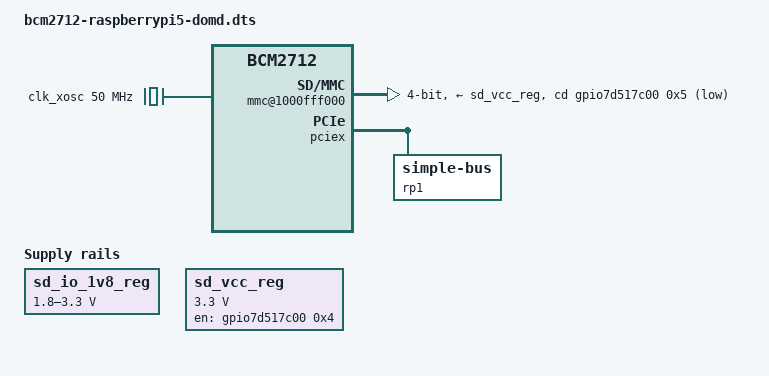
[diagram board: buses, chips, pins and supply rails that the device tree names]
/dts-v1/;

/ {
	#address-cells = <0x2>;
	#size-cells = <0x2>;

	gic: gic {
		#interrupt-cells = <0x3>;
		interrupt-controller;
	};

	passthrough {
		compatible = "raspberrypi,5-model-b", "brcm,bcm2712", "simple-bus";
		ranges;
		#address-cells = <0x2>;
		#size-cells = <0x2>;

		mmc@1000fff000 {
			compatible = "brcm,bcm2712-sdhci";
			interrupt-parent = <&gic>;
			interrupts = <0x0 0x111 0x4>;
			reg-names = "host", "cfg", "busisol", "lcpll";
			reg = <0x10 0xfff000 0x0 0x260 0x10 0xfff400 0x0 0x200
			       0x10 0x15040b0 0x0 0x4 0x10 0x15200f0 0x0 0x24>;
			clocks = <&clk_emmc2>;
			cd-gpios = <&gpio7d517c00 0x5 0x1>;
			sd-uhs-sdr104;
			sd-uhs-ddr50;
			sd-uhs-sdr50;
			bus-width = <0x4>;
			vmmc-supply = <&sd_vcc_reg>;
			vqmmc-supply = <&sd_io_1v8_reg>;
			mmc-ddr-3_3v;
			sdhci-caps = <0x0 0x0>;
			sdhci-caps-mask = <0xc000 0x0>;
			xen,path = "/axi/mmc@fff000";
			xen,force-assign-without-iommu = <0x1>;
			xen,reg = <0x10 0xfff000 0x0 0x1000 0x10 0xfff000 0x10 0x1504000 0x0
				   0x1000 0x10 0x1504000 0x10 0x1520000 0x0 0x1000 0x10 0x1520000>;
			status = "okay";
		};

		clk_emmc2: clk_emmc2 {
			compatible = "fixed-clock";
			#clock-cells = <0x0>;
			clock-output-names = "emmc2-clock";
			clock-frequency = <0xbebc200>;
			extracted,path = "/clocks/clk_emmc2";
		};

		clk_xosc: clk_xosc {
			compatible = "fixed-clock";
			#clock-cells = <0>;
			clock-output-names = "xosc";
			clock-frequency = <50000000>;
		};

		macb_pclk: macb_pclk {
			compatible = "fixed-clock";
			#clock-cells = <0>;
			clock-output-names = "pclk";
			clock-frequency = <200000000>;
		};

		macb_hclk: macb_hclk {
			compatible = "fixed-clock";
			#clock-cells = <0>;
			clock-output-names = "hclk";
			clock-frequency = <200000000>;
		};

		 sd_io_1v8_reg: sd_io_1v8_reg {
			compatible = "regulator-gpio";
			states = <0x1b7740 0x1 0x325aa0 0x0>;
			gpios = <&gpio7d517c00 0x3 0x0>;
			regulator-settling-time-us = <0x1388>;
			regulator-always-on;
			regulator-boot-on;
			regulator-max-microvolt = <0x325aa0>;
			regulator-min-microvolt = <0x1b7740>;
			regulator-name = "vdd-sd-io";
			extracted,path = "/sd_io_1v8_reg";
			status = "okay";
		};

		gpio7d517c00: gpio@107d517c00 {
			compatible = "brcm,brcmstb-gpio";
			#gpio-cells = <0x2>;
			gpio-controller;
			reg = <0x10 0x7d517c00 0x00 0x40>;
			brcm,gpio-direct;
			brcm,gpio-bank-widths = <0x11 0x6>;
			xen,path = "/soc/gpio@7d517c00";
			xen,force-assign-without-iommu = <0x1>;
			xen,reg = <0x10 0x7d517000 0x0 0x1000 0x10 0x7d517000>;
		};

		sd_vcc_reg: sd_vcc_reg {
			compatible = "regulator-fixed";
			gpios = <&gpio7d517c00 0x4 0x0>;
			enable-active-high;
			regulator-boot-on;
			regulator-max-microvolt = <0x325aa0>;
			regulator-min-microvolt = <0x325aa0>;
			regulator-name = "vcc-sd";
			extracted,path = "/sd_vcc_reg";
			status = "okay";
		};

		mip0: msi-controller@1000130000 {
			compatible = "brcm,bcm2712-mip-intc";
			reg = <0x10 0x00130000 0x0 0xc0>;
			interrupt-parent = <&gic>;
			msi-controller;
			interrupt-controller;
			#interrupt-cells = <2>;
			brcm,msi-base-spi = <128>;
			brcm,msi-num-spis = <64>;
			brcm,msi-offset = <0>;
			brcm,msi-pci-addr = <0xff 0xfffff000>;
			xen,path = "/axi/msi-controller@130000";
			xen,force-assign-without-iommu = <0x1>;
			xen,reg = <0x10 0x00130000 0x0 0x1000 0x10 0x00130000>;
			interrupts = <0x00 0x80 0x04 0x00 0x81 0x04 0x00 0x82 0x04
				      0x00 0x83 0x04 0x00 0x84 0x04 0x00 0x85 0x04
				      0x00 0x86 0x04 0x00 0x87 0x04 0x00 0x88 0x04
				      0x00 0x89 0x04 0x00 0x8a 0x04 0x00 0x8b 0x04
				      0x00 0x8c 0x04 0x00 0x8d 0x04 0x00 0x8e 0x04
				      0x00 0x8f 0x04 0x00 0x90 0x04 0x00 0x91 0x04
				      0x00 0x92 0x04 0x00 0x93 0x04 0x00 0x94 0x04
				      0x00 0x95 0x04 0x00 0x96 0x04 0x00 0x97 0x04
				      0x00 0x98 0x04 0x00 0x99 0x04 0x00 0x9a 0x04
				      0x00 0x9b 0x04 0x00 0x9c 0x04 0x00 0x9d 0x04
				      0x00 0x9e 0x04 0x00 0x9f 0x04 0x00 0xa0 0x04>;
		};

		pciex: pcie@1000120000 {
			compatible = "brcm,bcm2712-pcie";
			#address-cells = <0x3>;
			#size-cells = <0x2>;
			#interrupt-cells = <0x1>;
			reg = <0x10 0x120000 0x0 0x9310>;
			aspm-no-l0s;
			brcm,vdm-qos-map = <0xbbaa9888>;
			brcm,enable-mps-rcb;
			brcm,enable-l1ss;
			dma-ranges = <0x2000000 0x0 0x0 0x1f 0x0 0x0 0x400000
				      0x43000000 0x10 0x0 0x0 0x0 0x10 0x0>;
			ranges = <0x2000000 0x0 0x0 0x1f 0x0 0x0 0xfffffffc
				  0x43000000 0x4 0x0 0x1c 0x0 0x3 0x0>;
			interrupt-parent = <&gic>;
			/*
			 * HACK: But the mip0: msi-controller@130000 doesn't have IRQs defined
			 * in the standard way and instead uses custom properties:
			 * brcm,msi-base-spi to define GIC IRQ offset, and brcm,msi-num-spis
			 * to define number of GIC IRQs to use. The Xen doesn't understand this
			 * and so can't map interrupts to DomU in case of 'xen,passthrough'.
			 * The attempt to add correct interrupts property to the mip0:
			 * msi-controller@130000 has failed - no IRQs received by macb
			 * 1f00100000.ethernet. Reason unknown.
			 */
//			msi-parent = <&mip0>;
			msi-parent = <&pciex>;
			msi-controller;
			interrupt-names = "pcie", "msi";
			interrupts = <0x0 0xe9 0x4 0x0 0xea 0x4>;
			interrupt-map-mask = <0x0 0x0 0x0 0x7>;
			interrupt-map = <0x00 0x00 0x00 0x01 &gic 0x00 0xe5 0x04 
					 0x00 0x00 0x00 0x02 &gic 0x00 0xe6 0x04
					 0x00 0x00 0x00 0x03 &gic 0x00 0xe7 0x04
					 0x00 0x00 0x00 0x04 &gic 0x00 0xe8 0x04>;
			reset-names = "swinit", "bridge", "rescal";
			resets = <&reset_controller1504318 0x20>,
				 <&reset_controller1504318 0x2c>,
				 <&reset_controller119500>;
			max-link-speed = <0x2>;
			device_type = "pci";
			xen,path = "/axi/pcie@120000";
			xen,force-assign-without-iommu = <0x1>;
			xen,reg = <0x10 0x120000 0x0 0xA000 0x10 0x120000
				   0x1f 0x00 0x0 0x600000 0x1f 0x00>;
			status = "okay";

			rp1: rp1@c040000000 {
				compatible = "simple-bus";
				#address-cells = <0x2>;
				#size-cells = <0x2>;
				#interrupt-cells = <0x2>;
				interrupt-controller;
				interrupt-parent = <&rp1>;
				dma-ranges = <0x10 0x0 0x43000000 0x10 0x0 0x10
					      0x0 0xc0 0x40000000 0x2000000 0x0
					      0x0 0x0 0x400000 0x0 0x0 0x2000000
					      0x10 0x0 0x10 0x0>;
				ranges = <0xc0 0x40000000 0x2000000 0x0 0x0 0x0 0x400000>;

				ethernet@c040100000 {
					compatible = "cdns,macb";
					#address-cells = <0x1>;
					#size-cells = <0x0>;
					reg = <0xc0 0x40100000 0x0 0x4000>;
					interrupts = <0x6 0x4>;
					phy-reset-duration = <0x5>;
					phy-reset-gpios = <&gpiod0000 0x20 0x1>;
					phy-handle = <0x4b>;
					local-mac-address = [00 00 00 00 00 00];
					cdns,use-aw2b-fill;
					cdns,ar2r-max-pipe = [08];
					cdns,aw2w-max-pipe = [08];
					phy-mode = "rgmii-id";
					clock-names = "pclk", "hclk", "tsu_clk";
					clocks = <&macb_pclk>, <&macb_hclk>, <&clocks18000 0x1d>;
					xen,path = "/axi/pcie@120000/rp1/ethernet@100000";
					xen,force-assign-without-iommu = <0x1>;
					xen,reg = <0xc0 0x40100000 0x0 0x4000 0xc0 0x40100000>;
					status = "okay";

					ethernet-phy@1 {
						reg = <0x1>;
						brcm,powerdown-enable;
					};
				};

				gpiod0000: gpio@c0400d0000 {
					compatible = "raspberrypi,rp1-gpio";
					#gpio-cells = <0x2>;
					gpio-controller;
					reg = <0xc0 0x400d0000 0x0 0xc000
					       0xc0 0x400e0000 0x0 0xc000
					       0xc0 0x400f0000 0x0 0xc000>;
					gpio-line-names = "ID_SDA", "ID_SCL", "GPIO2", "GPIO3",
							  "GPIO4", "GPIO5", "GPIO6", "GPIO7",
							  "GPIO8", "GPIO9", "GPIO10", "GPIO11",
							  "GPIO12", "GPIO13", "GPIO14", "GPIO15",
							  "GPIO16", "GPIO17", "GPIO18", "GPIO19",
							  "GPIO20", "GPIO21", "GPIO22", "GPIO23",
							  "GPIO24", "GPIO25", "GPIO26", "GPIO27",
							  "PCIE_RP1_WAKE", "FAN_TACH", "HOST_SDA",
							  "HOST_SCL", "ETH_RST_N", "-",
							  "CD0_IO0_MICCLK", "CD0_IO0_MICDAT0",
							  "RP1_PCIE_CLKREQ_N", "-", "CD0_SDA",
							  "CD0_SCL", "CD1_SDA", "CD1_SCL",
							  "USB_VBUS_EN", "USB_OC_N", "RP1_STAT_LED",
							  "FAN_PWM", "CD1_IO0_MICCLK", "2712_WAKE",
							  "CD1_IO1_MICDAT1", "EN_MAX_USB_CUR",
							  "-", "-", "-", "-";
					xen,path = "/axi/pcie@120000/rp1/gpio@d0000";
					xen,force-assign-without-iommu = <0x1>;
					xen,reg = <0xc0 0x400d0000 0x0 0xc000 0xc0 0x400d0000
						   0xc0 0x400e0000 0x0 0xc000 0xc0 0x400e0000
						   0xc0 0x400f0000 0x0 0xc000 0xc0 0x400f0000>;
					status = "okay";
				};

				clocks18000: clocks@c040018000 {
					compatible = "raspberrypi,rp1-clocks";
					#clock-cells = <0x1>;
					reg = <0xc0 0x40018000 0x0 0x10038>;
					clocks = <&clk_xosc>;
					assigned-clock-rates = <0x3b9aca00 0x5b8d8000 0xbebc200
								0x7735940 0x3a98000 0xb71b000
								0xbebc200 0x5f5e100 0x2faf080
								0xf4240 0xbebc200 0x2faf080>;
					assigned-clocks = <&clocks18000 0x0>, <&clocks18000 0x1>,
							  <&clocks18000 0x3>, <&clocks18000 0x9>,
							  <&clocks18000 0x4>, <&clocks18000 0xa>,
							  <&clocks18000 0xc>, <&clocks18000 0x6>,
							  <&clocks18000 0xd>, <&clocks18000 0x1f>,
							  <&clocks18000 0x20>, <&clocks18000 0x1d>;
					xen,path = "/axi/pcie@120000/rp1/clocks@18000";
					xen,force-assign-without-iommu = <0x1>;
					xen,reg = <0xc0 0x40018000 0x0 0x11000 0xc0 0x40018000>;
				};
			};
		};

		reset_controller1504318: reset-controller@1001504318 {
			compatible = "brcm,brcmstb-reset";
			#reset-cells = <0x1>;
			reg = <0x10 0x1504318 0x0 0x30>;
			xen,path = "/axi/reset-controller@1504318";
			xen,force-assign-without-iommu = <0x1>;
			xen,reg = <0x10 0x1504000 0x0 0x1000 0x10 0x1504000>;
		};

		reset_controller119500: reset-controller@1000119500 {
			compatible = "brcm,bcm7216-pcie-sata-rescal";
			#reset-cells = <0x0>;
			reg = <0x10 0x119500 0x0 0x10>;
			xen,path = "/axi/reset-controller@119500";
			xen,force-assign-without-iommu = <0x1>;
			xen,reg = <0x10 0x119000 0x0 0x1000 0x10 0x119000>;
		};
	};
};
